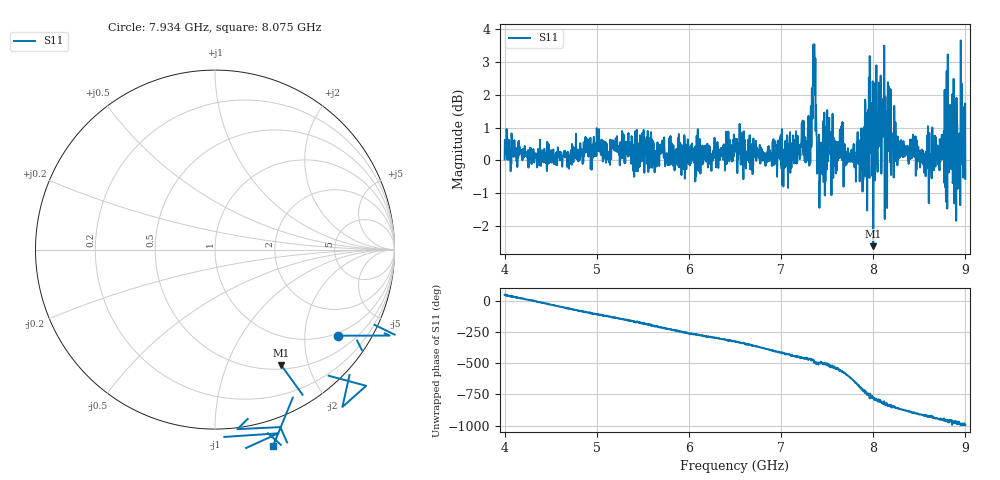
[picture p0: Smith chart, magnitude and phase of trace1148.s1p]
! Created with skrf 1.8.0 (http://scikit-rf.org).
# Hz S RI R 50.0
!freq ReS11 ImS11
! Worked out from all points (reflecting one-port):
!   1601 points, 4 GHz to 9 GHz, reference 50 ohm
!   lowest |S11| = -2.6 dB at 8 GHz (marker M1), VSWR 6.69, Z = 27.9 - j79.1 ohm
!   phase of S11 starts at 52 deg and turns -1048 deg over the sweep
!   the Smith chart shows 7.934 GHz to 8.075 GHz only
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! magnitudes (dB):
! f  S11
! 4 GHz  0.0
! 4.625 GHz  -0.2
! 5.25 GHz  -0.1
! 5.875 GHz  0.2
! 6.5 GHz  0.3
! 7.125 GHz  0.5
! 7.294 GHz  0.0
! 7.319 GHz  0.1
! 7.347 GHz  3.5
! 7.359 GHz  3.5
! 7.4 GHz  -0.1
! 7.416 GHz  -1.4
! 7.512 GHz  0.3
! 7.591 GHz  0.6
! 7.65 GHz  1.0
! 7.75 GHz  0.0
! 7.875 GHz  0.3
! 7.969 GHz  1.8
! 8 GHz  -2.6
! 8.066 GHz  1.3
! 8.097 GHz  0.8
! 8.197 GHz  0.6
! 8.375 GHz  0.3
! 8.622 GHz  0.0
! 8.819 GHz  -0.4
! 8.875 GHz  1.3
! 8.972 GHz  0.5
! 9 GHz  -0.6
